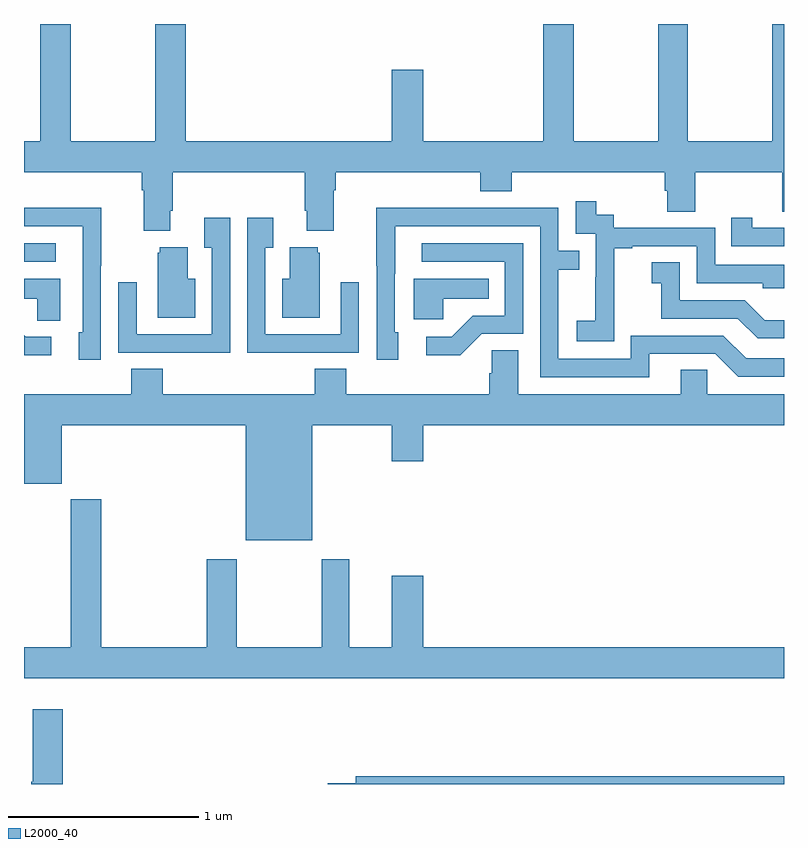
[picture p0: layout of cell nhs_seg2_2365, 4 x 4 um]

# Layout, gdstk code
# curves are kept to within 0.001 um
import gdstk
lib = gdstk.Library(unit=1e-6, precision=1e-09)
def R(c, l, rs):  # rectangles x0, y0, x1, y1
    for r in rs: c.add(gdstk.rectangle(r[:2], r[2:], *l))
def P(c, l, *ps):  # polygons
    for p in ps: c.add(gdstk.Polygon(p, *l))
L2000_40 = (2000, 40)

nhs_seg2_2365 = lib.new_cell('nhs_seg2_2365')
R(nhs_seg2_2365, L2000_40, [(235,596.55,235.168,596.646)])
P(nhs_seg2_2365, L2000_40, [(238.533,597.02),(238.99,597.02),(238.99,596.812),(239,596.812),(239,597.8),(238.939,597.8),(238.939,597.184),(238.494,597.184),(238.494,597.8),(238.339,597.8),(238.339,597.184),(237.894,597.184),(237.894,597.8),(237.734,597.8),(237.734,597.184),(237.1,597.184),(237.1,597.559),(236.936,597.559),(236.936,597.184),(235.85,597.184),(235.85,597.8),(235.69,597.8),(235.69,597.184),(235.245,597.184),(235.245,597.8),(235.085,597.8),(235.085,597.184),(235,597.184),(235,597.02),(235.619,597.02),(235.619,596.924),(235.631,596.924),(235.631,596.711),(235.771,596.711),(235.771,596.818),(235.784,596.818),(235.784,597.02),(236.477,597.02),(236.477,596.818),(236.489,596.818),(236.489,596.711),(236.629,596.711),(236.629,596.924),(236.642,596.924),(236.642,597.02),(237.401,597.02),(237.401,596.921),(237.566,596.921),(237.566,597.02),(238.373,597.02),(238.373,596.922),(238.385,596.922),(238.385,596.812),(238.533,596.812)],
  [(238.107,596.335),(238.106,596.335),(238.106,596.619),(238.201,596.619),(238.201,596.631),(238.542,596.631),(238.542,596.436),(238.887,596.436),(238.887,596.409),(239,596.409),(239,596.532),(238.638,596.532),(238.638,596.727),(238.104,596.727),(238.104,596.796),(238.012,596.796),(238.012,596.866),(237.903,596.866),(237.903,596.697),(238.008,596.697),(238.008,596.468),(238.007,596.468),(238.007,596.239),(237.909,596.239),(237.909,596.129),(238.107,596.129)],
  [(235.404,596.527),(235.407,596.527),(235.407,596.834),(235,596.834),(235,596.736),(235.308,596.736),(235.308,596.178),(235.289,596.178),(235.289,596.034),(235.404,596.034)],
  [(238.291,596.064),(238.638,596.064),(238.758,595.944),(239,595.944),(239,596.04),(238.8,596.04),(238.68,596.16),(238.194,596.16),(238.194,596.037),(237.813,596.037),(237.813,596.506),(237.923,596.506),(237.923,596.607),(237.813,596.607),(237.813,596.832),(237.317,596.832),(237.317,596.834),(236.854,596.834),(236.854,596.527),(236.856,596.527),(236.856,596.034),(236.971,596.034),(236.971,596.178),(236.952,596.178),(236.953,596.736),(237.717,596.736),(237.717,595.941),(238.291,595.941)],
  [(236.085,596.779),(235.949,596.779),(235.949,596.623),(235.989,596.623),(235.989,596.166),(235.593,596.166),(235.593,596.44),(235.497,596.44),(235.497,596.07),(235.813,596.07),(235.813,596.069),(236.085,596.069)],
  [(239,596.727),(238.834,596.727),(238.834,596.779),(238.723,596.779),(238.723,596.631),(239,596.631)],
  [(236.447,596.07),(236.763,596.07),(236.763,596.44),(236.667,596.44),(236.667,596.166),(236.271,596.166),(236.271,596.623),(236.311,596.623),(236.311,596.779),(236.175,596.779),(236.175,596.069),(236.447,596.069)],
  [(237.408,596.169),(237.627,596.169),(237.627,596.646),(237.093,596.646),(237.093,596.55),(237.531,596.55),(237.531,596.265),(237.362,596.265),(237.251,596.154),(237.117,596.154),(237.117,596.057),(237.295,596.057)],
  [(236.557,596.595),(236.546,596.595),(236.546,596.626),(236.399,596.626),(236.399,596.458),(236.36,596.458),(236.36,596.255),(236.557,596.255)],
  [(235.9,596.458),(235.861,596.458),(235.861,596.626),(235.715,596.626),(235.715,596.595),(235.703,596.595),(235.703,596.255),(235.9,596.255)],
  [(239,596.242),(238.898,596.242),(238.794,596.346),(238.452,596.346),(238.452,596.545),(238.305,596.545),(238.305,596.435),(238.354,596.435),(238.354,596.25),(238.757,596.25),(238.862,596.145),(239,596.145)],
  [(237.207,596.354),(237.446,596.354),(237.446,596.458),(237.05,596.458),(237.05,596.246),(237.207,596.246)],
  [(235.192,596.458),(235,596.458),(235,596.354),(235.071,596.354),(235.071,596.239),(235.192,596.239)],
  [(235.144,596.154),(235.009,596.154),(235,596.163),(235,596.057),(235.144,596.057)],
  [(236.518,595.688),(236.936,595.688),(236.936,595.5),(237.1,595.5),(237.1,595.688),(239,595.688),(239,595.852),(238.596,595.852),(238.596,595.979),(238.457,595.979),(238.457,595.852),(237.601,595.852),(237.601,596.084),(237.462,596.084),(237.462,595.961),(237.449,595.961),(237.449,595.852),(236.696,595.852),(236.696,595.985),(236.531,595.985),(236.531,595.852),(235.73,595.852),(235.73,595.985),(235.565,595.985),(235.565,595.852),(235,595.852),(235,595.379),(235.198,595.379),(235.198,595.688),(236.168,595.688),(236.168,595.082),(236.518,595.082)],
  [(239,594.52),(237.1,594.52),(237.1,594.895),(236.936,594.895),(236.936,594.52),(236.713,594.52),(236.713,594.982),(236.566,594.982),(236.566,594.52),(236.121,594.52),(236.121,594.982),(235.961,594.982),(235.961,594.52),(235.406,594.52),(235.406,595.3),(235.246,595.3),(235.246,594.52),(235,594.52),(235,594.356),(239,594.356)],
  [(235.205,594.193),(235.046,594.193),(235.046,593.813),(235.039,593.813),(235.039,593.8),(235.205,593.8)],
  [(239,593.84),(236.747,593.84),(236.747,593.804),(236.598,593.804),(236.598,593.8),(239,593.8)])

lib.write_gds('nhs_seg2_2365.gds')
